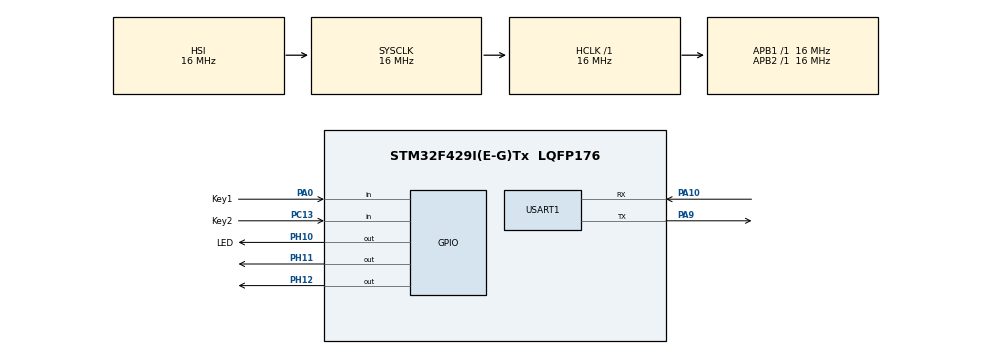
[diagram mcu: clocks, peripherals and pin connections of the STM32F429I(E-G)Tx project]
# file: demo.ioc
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Mcu.Family=STM32F4
Mcu.Name=STM32F429I(E-G)Tx
Mcu.Package=LQFP176
NVIC.PriorityGroup=NVIC_PRIORITYGROUP_4
PA0/WKUP.GPIO_Label=Key1
PA0/WKUP.Signal=GPIO_Input
PA10.Mode=Asynchronous
PA10.Signal=USART1_RX
PA9.Mode=Asynchronous
PA9.Signal=USART1_TX
PC13.GPIO_Label=Key2
PC13.Signal=GPIO_Input
PH10.GPIO_Label=LED
PH10.PinState=GPIO_PIN_SET
PH10.Signal=GPIO_Output
PH11.PinState=GPIO_PIN_SET
PH11.Signal=GPIO_Output
PH12.PinState=GPIO_PIN_SET
PH12.Signal=GPIO_Output
ProjectManager.HeapSize=0x200
ProjectManager.StackSize=0x400
ProjectManager.TargetToolchain=MDK-ARM V5.27
RCC.AHBFreq_Value=16000000
RCC.APB1Freq_Value=16000000
RCC.APB2Freq_Value=16000000
RCC.CortexFreq_Value=16000000
RCC.HSE_VALUE=25000000
RCC.HSI_VALUE=16000000
RCC.LSE_VALUE=32768
RCC.SYSCLKFreq_VALUE=16000000
RCC.VCOOutputFreq_Value=192000000
RealThread.RT-Thread.3.1.5.RTOSJjkernel=true
USART1.VirtualMode=VM_ASYNC
VP_RealThread.RT-Thread_VS_RTOSJjkernel_3.1.5_3.1.5.Mode=RTOSJjkernel
board=custom

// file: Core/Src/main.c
/* USER CODE BEGIN Header */
/**
 ******************************************************************************
 * @file           : main.c
 * @brief          : Main program body
 ******************************************************************************
 * @attention
 *
 * <h2><center>&copy; Copyright (c) 2023 STMicroelectronics.
 * All rights reserved.</center></h2>
 *
 * This software component is licensed by ST under Ultimate Liberty license
 * SLA0044, the "License"; You may not use this file except in compliance with
 * the License. You may obtain a copy of the License at:
 *                             www.st.com/SLA0044
 *
 ******************************************************************************
 */
/* USER CODE END Header */
#include "main.h"
#include "usart.h"
#include "gpio.h"

/* USER CODE BEGIN Includes */
#include "rtthread.h"
/* USER CODE END Includes */

/* USER CODE BEGIN PV */

/*定义线程控制*/
static rt_thread_t receive_thread = RT_NULL;
static rt_thread_t send_thread = RT_NULL;
/*定义消息队列控制*/
// static rt_mq_t test_mq = RT_NULL;
// static rt_sem_t test_sem = RT_NULL;
static rt_mutex_t test_mux=RT_NULL;

/*全局变量声明*/
rt_uint8_t ucValue[2] = {0x00, 0x00};
/* USER CODE END PV */

void SystemClock_Config(void);
/* USER CODE BEGIN PFP */
static void receive_thread_entry(void *parametr);
static void send_thread_entry(void *parameter);
/* USER CODE END PFP */

int main(void)
{

  /* MCU Configuration--------------------------------------------------------*/

  /* Reset of all peripherals, Initializes the Flash interface and the Systick. */
  HAL_Init();

  /* Configure the system clock */
  SystemClock_Config();

  /* Initialize all configured peripherals */
  MX_GPIO_Init();
  MX_USART1_UART_Init();
  /* USER CODE BEGIN 2 */
  rt_kprintf("RT-Thread实验-互斥量");
  /* USER CODE END 2 */

  /* Infinite loop */

  /* USER CODE BEGIN 3 */
  rt_show_version();
  test_mux=rt_mutex_create("test_mux",RT_IPC_FLAG_FIFO);

  if (test_mux != RT_NULL)
  {
    /* code */
    rt_kprintf("创建成功！\n\n");
  }

  receive_thread =
      rt_thread_create(
          "receive",
          receive_thread_entry,
          RT_NULL,
          512,
          3,
          20);
  if (receive_thread != RT_NULL)
  {
    rt_thread_startup(receive_thread);
  }
  else
  {
    return -1;
  }
  send_thread =
      rt_thread_create(
          "send",
          send_thread_entry,
          RT_NULL,
          512,
          4,
          20);
  if (send_thread != RT_NULL)
  {
    /* code */
    rt_thread_startup(send_thread);
  }
  else
    return -1;

  /* USER CODE END 3 */
}

void SystemClock_Config(void)
{
  RCC_OscInitTypeDef RCC_OscInitStruct = {0};
  RCC_ClkInitTypeDef RCC_ClkInitStruct = {0};

  /** Configure the main internal regulator output voltage
   */
  __HAL_RCC_PWR_CLK_ENABLE();
  __HAL_PWR_VOLTAGESCALING_CONFIG(PWR_REGULATOR_VOLTAGE_SCALE3);
  /** Initializes the RCC Oscillators according to the specified parameters
   * in the RCC_OscInitTypeDef structure.
   */
  RCC_OscInitStruct.OscillatorType = RCC_OSCILLATORTYPE_HSI;
  RCC_OscInitStruct.HSIState = RCC_HSI_ON;
  RCC_OscInitStruct.HSICalibrationValue = RCC_HSICALIBRATION_DEFAULT;
  RCC_OscInitStruct.PLL.PLLState = RCC_PLL_NONE;
  if (HAL_RCC_OscConfig(&RCC_OscInitStruct) != HAL_OK)
  {
    Error_Handler();
  }
  /** Initializes the CPU, AHB and APB buses clocks
   */
  RCC_ClkInitStruct.ClockType = RCC_CLOCKTYPE_HCLK | RCC_CLOCKTYPE_SYSCLK | RCC_CLOCKTYPE_PCLK1 | RCC_CLOCKTYPE_PCLK2;
  RCC_ClkInitStruct.SYSCLKSource = RCC_SYSCLKSOURCE_HSI;
  RCC_ClkInitStruct.AHBCLKDivider = RCC_SYSCLK_DIV1;
  RCC_ClkInitStruct.APB1CLKDivider = RCC_HCLK_DIV1;
  RCC_ClkInitStruct.APB2CLKDivider = RCC_HCLK_DIV1;

  if (HAL_RCC_ClockConfig(&RCC_ClkInitStruct, FLASH_LATENCY_0) != HAL_OK)
  {
    Error_Handler();
  }
}

/* USER CODE BEGIN 4 */
/*线程定义*/
static void receive_thread_entry(void *parametr)
{
  while (1)
  {
    rt_mutex_take(test_mux,RT_WAITING_FOREVER);
    if (ucValue[0]==ucValue[1])
    {
      /* code */
      rt_kprintf("Successful\n");
    }else{
      rt_kprintf("Fail\n");
    }
    rt_mutex_release(test_mux);
    rt_thread_delay(1000);
  }
}

static void send_thread_entry(void *parameter)
{
  while (1)
  {
    /* code */
    rt_mutex_take(test_mux,RT_WAITING_FOREVER);
    ucValue[0]++;
    rt_thread_delay(100);
    ucValue[1]++;
    rt_mutex_release(test_mux);
    rt_thread_yield();
  }
}
/* USER CODE END 4 */

void Error_Handler(void)
{
  __disable_irq();
  while (1)
  {
  }
}

/************************ (C) COPYRIGHT STMicroelectronics *****END OF FILE****/
